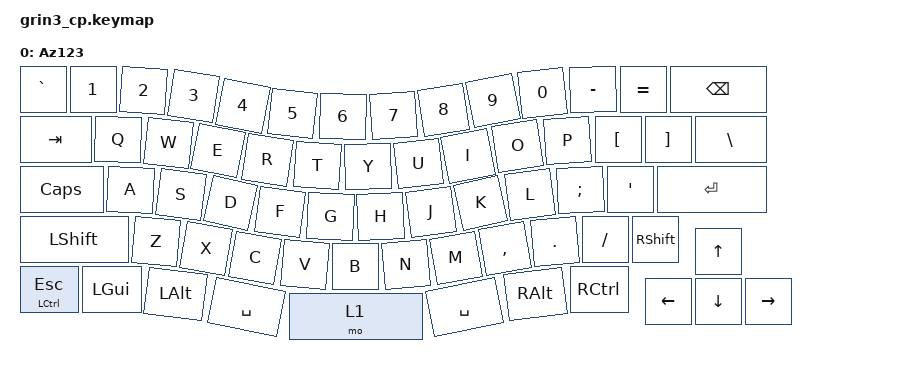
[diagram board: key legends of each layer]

#include <behaviors.dtsi>
#include <dt-bindings/zmk/keys.h>
#include <behaviors/rgbled_widget.dtsi>

&mt {
   flavor = "tap-preferred";
   quick_tap_ms = <125>;
   tapping_term_ms = <250>;
};
 
/ {
    behaviors {
    };
 
   keymap {
       compatible = "zmk,keymap";
       default_layer {
           label = "Az123";
           bindings = <
&kp GRAVE &kp N1    &kp N2     &kp N3     &kp N4     &kp N5       &kp N6    &kp N7     &kp N8     &kp N9     &kp N0    &kp MINUS   &kp EQUAL &kp BKSP
&kp TAB   &kp Q     &kp W      &kp E      &kp R      &kp T        &kp Y     &kp U      &kp I      &kp O      &kp P     &kp LBKT    &kp RBKT  &kp BSLH
&kp CAPS  &kp A     &kp S      &kp D      &kp F      &kp G        &kp H     &kp J      &kp K      &kp L      &kp SEMI  &kp SQT         &kp ENTER
&kp LSHFT &kp Z     &kp X      &kp C      &kp V      &kp B        &kp N     &kp M      &kp COMMA  &kp DOT    &kp FSLH  &kp RSHFT       &kp UP
&mt LCTL ESC  &kp LGUI   &kp LALT      &kp SPACE       &mo 1       &kp SPACE   &kp RALT   &kp RCTL                               &kp LEFT &kp DOWN &kp RIGHT
>;
       };
   };
};

/ {
    aliases {
        led-red = &led0;
        led-green = &led1;
        led-blue = &led2;
    };

    leds {
        compatible = "gpio-leds";
        status = "okay";
        led0: led_0 {
            gpios = <&gpio0 26 GPIO_ACTIVE_LOW>;  // red LED, connected to P0.26
        };
        led1: led_1 {
            gpios = <&gpio0 30 GPIO_ACTIVE_LOW>;  // green LED, connected to P0.30
        };
        led2: led_2 {
            gpios = <&gpio0 6 GPIO_ACTIVE_LOW>;  // blue LED, connected to P0.06
        };
    };
};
